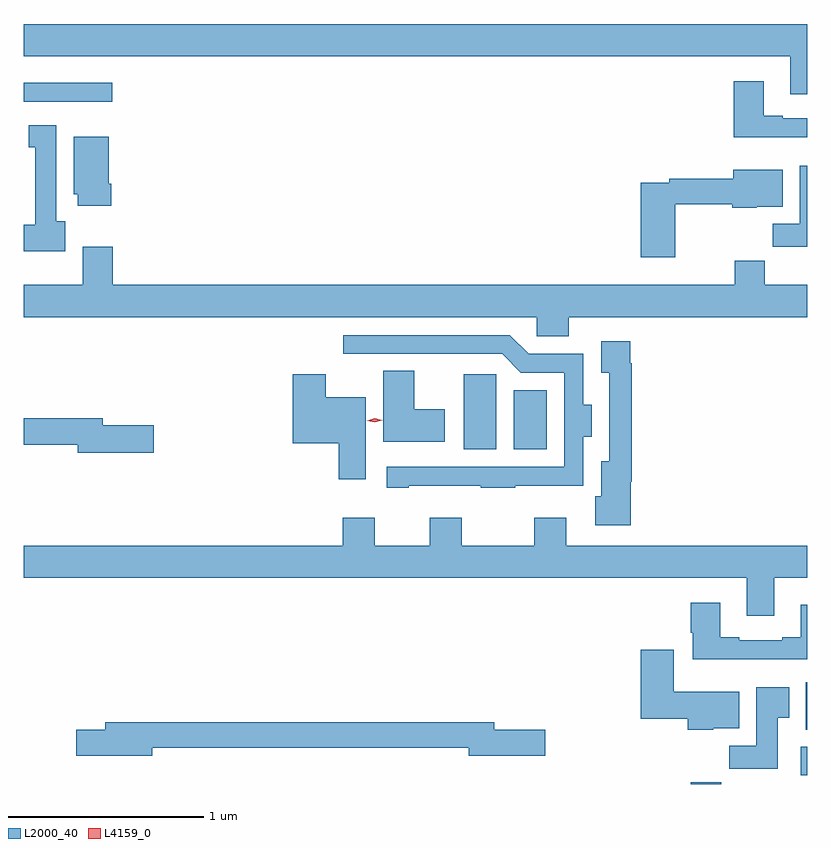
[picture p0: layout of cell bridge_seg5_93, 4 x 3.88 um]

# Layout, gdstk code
import gdstk
lib = gdstk.Library(unit=1e-6, precision=1e-09)
def R(c, l, rs):  # rectangles x0, y0, x1, y1
    for r in rs: c.add(gdstk.rectangle(r[:2], r[2:], *l))
def P(c, l, *ps):  # polygons
    for p in ps: c.add(gdstk.Polygon(p, *l))
L2000_40 = (2000, 40)
L4159_0 = (4159, 0)

bridge_seg5_93 = lib.new_cell('bridge_seg5_93')
R(bridge_seg5_93, L2000_40, [(604.703,870.36,604.859,870.368), (605.267,870.404,605.299,870.55), (605.291,870.638,605.299,870.88), (603.545,872.069,603.712,872.452), (603.8,872.069,603.97,872.371), (601.299,873.843,601.75,873.94)])
P(bridge_seg5_93, L2000_40, [(605.299,874.24),(601.299,874.24),(601.299,874.076),(605.213,874.076),(605.213,873.882),(605.299,873.882)],
  [(605.299,873.759),(605.173,873.759),(605.173,873.772),(605.077,873.772),(605.077,873.949),(604.925,873.949),(604.925,873.662),(605.299,873.662)],
  [(601.51,873.234),(601.465,873.234),(601.465,873.724),(601.325,873.724),(601.325,873.611),(601.358,873.611),(601.358,873.214),(601.299,873.214),(601.299,873.08),(601.51,873.08)],
  [(601.745,873.424),(601.732,873.424),(601.732,873.664),(601.553,873.664),(601.553,873.372),(601.574,873.372),(601.574,873.312),(601.745,873.312)],
  [(605.299,873.517),(605.261,873.517),(605.261,873.22),(605.122,873.22),(605.122,873.102),(605.299,873.102)],
  [(604.626,873.321),(604.915,873.321),(604.915,873.302),(605.04,873.302),(605.04,873.308),(605.173,873.308),(605.173,873.496),(604.922,873.496),(604.922,873.449),(604.594,873.449),(604.594,873.429),(604.448,873.429),(604.448,873.048),(604.626,873.048)],
  [(604.082,872.744),(605.299,872.744),(605.299,872.908),(605.081,872.908),(605.081,873.032),(604.93,873.032),(604.93,872.908),(601.754,872.908),(601.754,873.103),(601.601,873.103),(601.601,872.908),(601.299,872.908),(601.299,872.744),(603.918,872.744),(603.918,872.646),(604.082,872.646)],
  [(603.265,871.883),(603.631,871.883),(603.631,871.872),(603.809,871.872),(603.809,871.883),(604.155,871.883),(604.155,872.132),(604.198,872.132),(604.198,872.296),(604.156,872.296),(604.156,872.556),(603.876,872.556),(603.78,872.652),(602.931,872.652),(602.931,872.556),(603.741,872.556),(603.837,872.46),(604.059,872.46),(604.059,871.98),(603.153,871.98),(603.153,871.872),(603.265,871.872)],
  [(604.397,871.904),(604.403,871.904),(604.403,872.507),(604.396,872.507),(604.396,872.62),(604.247,872.62),(604.247,872.459),(604.287,872.459),(604.287,872.008),(604.247,872.008),(604.247,871.83),(604.217,871.83),(604.217,871.682),(604.397,871.682)],
  [(603.448,872.272),(603.292,872.272),(603.292,872.471),(603.134,872.471),(603.134,872.108),(603.448,872.108)],
  [(603.046,872.335),(602.842,872.335),(602.842,872.452),(602.672,872.452),(602.672,872.099),(602.906,872.099),(602.906,871.917),(603.046,871.917)],
  [(601.963,872.192),(601.702,872.192),(601.702,872.228),(601.299,872.228),(601.299,872.092),(601.574,872.092),(601.574,872.05),(601.963,872.05)],
  [(605.131,871.412),(605.299,871.412),(605.299,871.576),(604.069,871.576),(604.069,871.72),(603.905,871.72),(603.905,871.576),(603.535,871.576),(603.535,871.72),(603.371,871.72),(603.371,871.576),(603.091,871.576),(603.091,871.72),(602.927,871.72),(602.927,871.576),(601.299,871.576),(601.299,871.412),(604.991,871.412),(604.991,871.218),(605.131,871.218)],
  [(605.299,871.276),(605.267,871.276),(605.267,871.108),(605.171,871.108),(605.171,871.095),(604.951,871.095),(604.951,871.108),(604.855,871.108),(604.855,871.285),(604.703,871.285),(604.703,871.132),(604.715,871.132),(604.715,870.998),(605.299,870.998)],
  [(604.818,870.644),(604.951,870.644),(604.951,870.832),(604.618,870.832),(604.618,871.045),(604.448,871.045),(604.448,870.692),(604.688,870.692),(604.688,870.638),(604.818,870.638)],
  [(605.149,870.697),(605.206,870.697),(605.206,870.853),(605.039,870.853),(605.039,870.556),(604.9,870.556),(604.9,870.438),(605.149,870.438)],
  [(601.954,870.546),(603.572,870.546),(603.572,870.503),(603.961,870.503),(603.961,870.638),(603.7,870.638),(603.7,870.674),(601.715,870.674),(601.715,870.638),(601.566,870.638),(601.566,870.503),(601.954,870.503)])
P(bridge_seg5_93, L4159_0, [(603.091,872.206),(603.052,872.214),(603.051,872.215),(603.052,872.215),(603.09,872.226),(603.13,872.217),(603.13,872.217),(603.13,872.217)])

lib.write_gds('bridge_seg5_93.gds')
